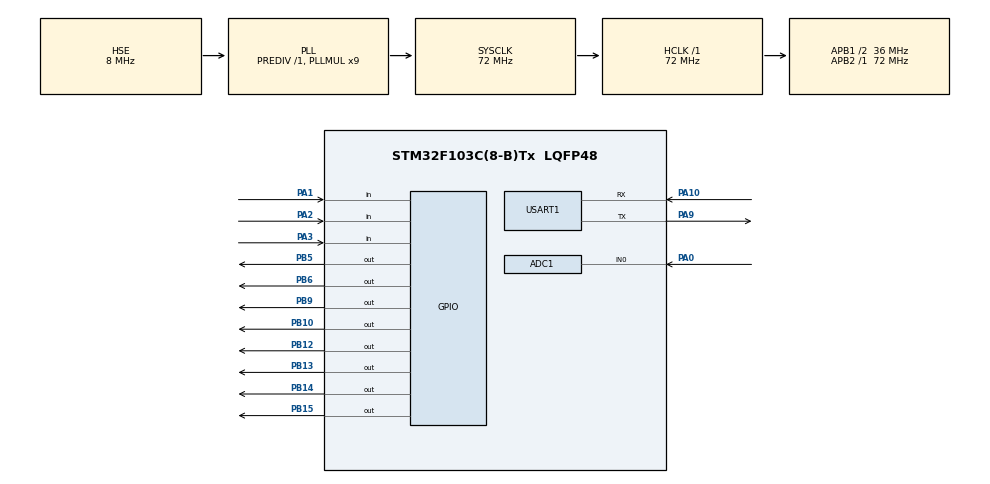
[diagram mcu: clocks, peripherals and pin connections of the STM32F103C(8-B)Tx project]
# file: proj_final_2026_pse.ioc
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ADC1.Channel-0\#ChannelRegularConversion=ADC_CHANNEL_0
ADC1.NbrOfConversionFlag=1
ADC1.Rank-0\#ChannelRegularConversion=1
ADC1.SamplingTime-0\#ChannelRegularConversion=ADC_SAMPLETIME_1CYCLE_5
ADC1.master=1
Dma.Request0=USART1_RX
Dma.Request1=USART1_TX
Dma.USART1_RX.0.Direction=DMA_PERIPH_TO_MEMORY
Dma.USART1_RX.0.Instance=DMA1_Channel5
Dma.USART1_RX.0.MemDataAlignment=DMA_MDATAALIGN_BYTE
Dma.USART1_RX.0.MemInc=DMA_MINC_ENABLE
Dma.USART1_RX.0.Mode=DMA_NORMAL
Dma.USART1_RX.0.PeriphDataAlignment=DMA_PDATAALIGN_BYTE
Dma.USART1_RX.0.PeriphInc=DMA_PINC_DISABLE
Dma.USART1_RX.0.Priority=DMA_PRIORITY_LOW
Dma.USART1_TX.1.Direction=DMA_MEMORY_TO_PERIPH
Dma.USART1_TX.1.Instance=DMA1_Channel4
Dma.USART1_TX.1.MemDataAlignment=DMA_MDATAALIGN_BYTE
Dma.USART1_TX.1.MemInc=DMA_MINC_ENABLE
Dma.USART1_TX.1.Mode=DMA_NORMAL
Dma.USART1_TX.1.PeriphDataAlignment=DMA_PDATAALIGN_BYTE
Dma.USART1_TX.1.PeriphInc=DMA_PINC_DISABLE
Dma.USART1_TX.1.Priority=DMA_PRIORITY_LOW
FREERTOS.Queues01=DMA,16,CommEvent,0,Dynamic,NULL,NULL;RxEvent,16,AppEvent,0,Dynamic,NULL,NULL;displayCommands,6,DisplayCommand,0,Dynamic,NULL,NULL
FREERTOS.Tasks01=defaultTask,24,192,StartDefaultTask,Default,NULL,Dynamic,NULL,NULL;display,32,128,fn_display,Default,NULL,Dynamic,NULL,NULL;uartTx,32,160,fn_uart_tx,Default,NULL,Dynamic,NULL,NULL;keyboard,24,96,fn_keyboard,Default,NULL,Dynamic,NULL,NULL
FREERTOS.configMINIMAL_STACK_SIZE=64
FREERTOS.configTOTAL_HEAP_SIZE=8192
FREERTOS.configUSE_NEWLIB_REENTRANT=1
FREERTOS.configUSE_TICK_HOOK=1
Mcu.Family=STM32F1
Mcu.Name=STM32F103C(8-B)Tx
Mcu.Package=LQFP48
NVIC.ADC1_2_IRQn=true\:5\:0\:false\:true\:true\:4\:true\:true\:true\:true
NVIC.DMA1_Channel4_IRQn=true\:5\:0\:false\:false\:true\:true\:false\:true\:true
NVIC.DMA1_Channel5_IRQn=true\:5\:0\:false\:false\:true\:true\:false\:true\:true
NVIC.PriorityGroup=NVIC_PRIORITYGROUP_4
NVIC.TIM4_IRQn=true\:15\:0\:false\:false\:true\:false\:false\:true\:true
NVIC.TimeBase=TIM4_IRQn
NVIC.TimeBaseIP=TIM4
NVIC.USART1_IRQn=true\:5\:0\:false\:true\:true\:5\:true\:true\:true\:true
PA0-WKUP.Signal=ADCx_IN0
PA1.GPIO_PuPd=GPIO_PULLUP
PA1.Signal=GPIO_Input
PA10.Mode=Asynchronous
PA10.Signal=USART1_RX
PA13.Mode=Serial_Wire
PA13.Signal=SYS_JTMS-SWDIO
PA14.Mode=Serial_Wire
PA14.Signal=SYS_JTCK-SWCLK
PA2.GPIO_PuPd=GPIO_PULLUP
PA2.Signal=GPIO_Input
PA3.GPIO_PuPd=GPIO_PULLUP
PA3.Signal=GPIO_Input
PA9.Mode=Asynchronous
PA9.Signal=USART1_TX
PB10.Signal=GPIO_Output
PB12.PinState=GPIO_PIN_SET
PB12.Signal=GPIO_Output
PB13.PinState=GPIO_PIN_SET
PB13.Signal=GPIO_Output
PB14.PinState=GPIO_PIN_SET
PB14.Signal=GPIO_Output
PB15.PinState=GPIO_PIN_SET
PB15.Signal=GPIO_Output
PB5.PinState=GPIO_PIN_SET
PB5.Signal=GPIO_Output
PB6.Signal=GPIO_Output
PB9.Signal=GPIO_Output
PD0-OSC_IN.Mode=HSE-External-Oscillator
PD0-OSC_IN.Signal=RCC_OSC_IN
PD1-OSC_OUT.Mode=HSE-External-Oscillator
PD1-OSC_OUT.Signal=RCC_OSC_OUT
ProjectManager.HeapSize=0x200
ProjectManager.StackSize=0x400
ProjectManager.TargetToolchain=STM32CubeIDE
RCC.ADCPresc=RCC_ADCPCLK2_DIV6
RCC.AHBFreq_Value=72000000
RCC.APB1CLKDivider=RCC_HCLK_DIV2
RCC.APB1Freq_Value=36000000
RCC.APB1TimFreq_Value=72000000
RCC.APB2Freq_Value=72000000
RCC.APB2TimFreq_Value=72000000
RCC.HCLKFreq_Value=72000000
RCC.PLLMUL=RCC_PLL_MUL9
RCC.PLLSourceVirtual=RCC_PLLSOURCE_HSE
RCC.SYSCLKFreq_VALUE=72000000
RCC.SYSCLKSource=RCC_SYSCLKSOURCE_PLLCLK
RCC.USBFreq_Value=72000000
SH.ADCx_IN0.0=ADC1_IN0,IN0
USART1.VirtualMode=VM_ASYNC
VP_FREERTOS_VS_CMSIS_V2.Mode=CMSIS_V2
VP_SYS_VS_tim4.Mode=TIM4
board=custom

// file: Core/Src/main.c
/* USER CODE BEGIN Header */
/**
  ******************************************************************************
  * @file           : main.c
  * @brief          : Main program body
  ******************************************************************************
  * @attention
  *
  * Copyright (c) 2024 STMicroelectronics.
  * All rights reserved.
  *
  * This software is licensed under terms that can be found in the LICENSE file
  * in the root directory of this software component.
  * If no LICENSE file comes with this software, it is provided AS-IS.
  *
  * notas: J Ranhel - rev 2026.07
  * PA5 =1 na entrada do callBack do RxCpltCallback(), =0 na saída
  * PB7 =1 na entrada do PeriodElapsedCallback(), =0 ma saída
  *
  *
  ******************************************************************************
  */
/* USER CODE END Header */
#include "main.h"
#include "cmsis_os.h"

/* USER CODE BEGIN Includes */
#include <stdbool.h>
#include "FreeRTOS.h"
#include "task.h"
/* USER CODE END Includes */

/* USER CODE BEGIN PTD */
#define PROTOCOL_FRAME_SIZE  (sizeof(PNGPRG) - 1U)
#define DISPLAY_DIGIT_COUNT  NDIGSDISP

typedef enum {
  APP_PHASE_BOOT_TEST = 0,
  APP_PHASE_WAIT_LINK,
  APP_PHASE_RUNNING,
  APP_PHASE_CONNECTION_ERROR
} AppPhase;

typedef enum {
  BUTTON_A1 = 0,
  BUTTON_A2,
  BUTTON_A3,
  BUTTON_COUNT
} ButtonId;

typedef enum {
  PROTOCOL_INVALID = 0,
  PROTOCOL_PING,
  PROTOCOL_PONG,
  PROTOCOL_REQUEST_SERVICE,
  PROTOCOL_STOP_REQUEST,
  PROTOCOL_NO_SERVICE,
  PROTOCOL_REQUEST_CHRONO,
  PROTOCOL_REQUEST_ADC,
  PROTOCOL_CHRONO_VALUE,
  PROTOCOL_ADC_VALUE
} ProtocolType;

typedef struct {
  ProtocolType type;
  uint16_t value;
} ProtocolMessage;

typedef enum {
  APP_EVENT_CHRONO_TICK = 0,
  APP_EVENT_ADC_READY,
  APP_EVENT_BUTTON_EDGE,
  APP_EVENT_PROTOCOL
} AppEventType;

typedef struct {
  AppEventType type;
  union {
    uint16_t value;
    ButtonId button;
    ProtocolMessage protocol;
  } data;
} AppEvent;

typedef enum {
  COMM_EVENT_SEND = 0,
  COMM_EVENT_RX_FRAME,
  COMM_EVENT_TX_COMPLETE,
  COMM_EVENT_UART_ERROR
} CommEventType;

typedef struct {
  CommEventType type;
  union {
    ProtocolMessage message;
    uint8_t frame[PROTOCOL_FRAME_SIZE];
  } data;
} CommEvent;

typedef enum {
  DISPLAY_LED_NONE = 0,
  DISPLAY_LED_D1,
  DISPLAY_LED_D2,
  DISPLAY_LED_D3,
  DISPLAY_LED_D4
} DisplayLed;

typedef enum {
  STARTUP_ANIMATION_ROUTE = 0,
  STARTUP_ANIMATION_DRAW_EIGHTS,
  STARTUP_ANIMATION_HOLD_EIGHTS
} StartupAnimationPhase;

typedef struct {
  uint8_t digit;
  uint8_t segment_mask;
} StartupPathFrame;

typedef struct {
  int8_t digits[DISPLAY_DIGIT_COUNT];
  uint8_t decimal_mask;
  DisplayLed blinking_led;
  bool animate_all_eights;
  bool pulse_buzzer;
  uint32_t buzzer_duration_ms;
} DisplayCommand;

typedef struct {
  DisplayCommand command;
  StartupAnimationPhase animation_phase;
  uint8_t animation_frame;
  bool led_on;
  bool buzzer_active;
  bool buzzer_on;
  bool buzzer_latched;
  uint32_t next_led_toggle;
  uint32_t next_animation_frame;
  uint32_t next_animation_phase;
  uint32_t next_buzzer_toggle;
  uint32_t buzzer_deadline;
} DisplayRuntime;

typedef struct {
  AppPhase phase;
  bool ready_beep_pending;
  bool local_display_enabled;
  bool requesting_peer_service;
  bool serving_peer;
  bool no_service_alert;
  bool remote_chrono_valid;
  bool remote_adc_valid;
  bool ping_awaiting_response;
  bool request_adc_next;
  uint8_t missed_pongs;
  uint8_t display_page;
  uint16_t chrono_deciseconds;
  uint16_t adc_millivolts;
  uint16_t remote_chrono_deciseconds;
  uint16_t remote_adc_millivolts;
  uint32_t ping_deadline;
  uint32_t display_deadline;
  uint32_t remote_request_deadline;
  uint32_t alert_deadline;
} AppState;

typedef struct {
  ButtonId id;
  uint16_t pin;
  GPIO_PinState stable_state;
  GPIO_PinState candidate_state;
  uint32_t candidate_since_ms;
} ButtonInput;
/* USER CODE END PTD */

/* USER CODE BEGIN PD */
#define ADC_REFERENCE_MV              VDD_VALUE
#define ADC_FULL_SCALE                4095U
#define CHRONO_WRAP_DECISECONDS       6000U

#define BOOT_TEST_MS                  3000U
#define PING_PERIOD_MS                 250U
#define PING_MISSED_LIMIT                3U
#define CHRONO_PERIOD_MS        (DT_CRONO + 1U)
#define ADC_PERIOD_MS              (DT_ADC + 1U)
#define REMOTE_REQUEST_PERIOD_MS (DT_NEWREQ + 1U)
#define LOCAL_PAGE_PERIOD_MS (DT_DISPLAY_MD1 + 1U)
#define SERVICE_PAGE_PERIOD_MS (DT_DISPLAY_MD2 + 1U)
#define DISPLAY_SCAN_PERIOD_MS        DT_MUX_DISP
#define OUTPUT_BLINK_PERIOD_MS      (DT_LEDS + 1U)
#define STARTUP_CHASE_PERIOD_MS (DT_EFEITO_INI + 1U)
#define STARTUP_CHASE_TAIL_LENGTH         3U
#define STARTUP_ALL_SEGMENTS_MS          600U
#define READY_BEEP_MS                    200U
#define NO_SERVICE_ALERT_MS            5000U
#define BUTTON_DEBOUNCE_MS               50U
#define CONTROLLER_POLL_MS    (DT_CKECKEYS + 1U)
#define IO_POLL_MS            (DT_CKECKEYS + 1U)

#define APP_EVENT_QUEUE_LENGTH           16U
#define COMM_EVENT_QUEUE_LENGTH          16U
#define DISPLAY_QUEUE_LENGTH              6U
#define COMM_PENDING_FRAME_COUNT           8U

#define BUTTON_A1_PIN              GPIO_PIN_1
#define BUTTON_A2_PIN              GPIO_PIN_2
#define BUTTON_A3_PIN              GPIO_PIN_3

#define LED_D1_PIN                GPIO_PIN_15
#define LED_D2_PIN                GPIO_PIN_14
#define LED_D3_PIN                GPIO_PIN_13
#define LED_D4_PIN                GPIO_PIN_12
#define LED_ALL_PINS   (LED_D1_PIN | LED_D2_PIN | LED_D3_PIN | LED_D4_PIN)
#define BUZZER_PIN                GPIO_PIN_5
#define BUZZER_ACTIVE_LEVEL        GPIO_PIN_RESET
#define BUZZER_INACTIVE_LEVEL      GPIO_PIN_SET

#define GLYPH_BLANK                  ((int8_t)DIG_APAGADO)
#define GLYPH_LOWER_N                ((int8_t)0x11)
#define GLYPH_LOWER_O                ((int8_t)0x12)
#define GLYPH_LOWER_R                ((int8_t)0x13)
/* USER CODE END PD */

ADC_HandleTypeDef hadc1;

UART_HandleTypeDef huart1;
DMA_HandleTypeDef hdma_usart1_rx;
DMA_HandleTypeDef hdma_usart1_tx;

/* Definitions for defaultTask */
osThreadId_t defaultTaskHandle;
const osThreadAttr_t defaultTask_attributes = {
  .name = "defaultTask",
  .stack_size = 192 * 4,
  .priority = (osPriority_t) osPriorityNormal
};
/* Definitions for display */
osThreadId_t displayHandle;
const osThreadAttr_t display_attributes = {
  .name = "display",
  .stack_size = 128 * 4,
  .priority = (osPriority_t) osPriorityAboveNormal
};
/* Definitions for uartTx */
osThreadId_t uartTxHandle;
const osThreadAttr_t uartTx_attributes = {
  .name = "uartTx",
  .stack_size = 160 * 4,
  .priority = (osPriority_t) osPriorityAboveNormal
};
/* Definitions for keyboard */
osThreadId_t keyboardHandle;
const osThreadAttr_t keyboard_attributes = {
  .name = "keyboard",
  .stack_size = 96 * 4,
  .priority = (osPriority_t) osPriorityNormal
};
/* Definitions for DMA */
osMessageQueueId_t DMAHandle;
const osMessageQueueAttr_t DMA_attributes = {
  .name = "DMA"
};
/* Definitions for RxEvent */
osMessageQueueId_t RxEventHandle;
const osMessageQueueAttr_t RxEvent_attributes = {
  .name = "RxEvent"
};
/* Definitions for displayCommands */
osMessageQueueId_t displayCommandsHandle;
const osMessageQueueAttr_t displayCommands_attributes = {
  .name = "displayCommands"
};
/* USER CODE BEGIN PV */
uint8_t BufOUT[PROTOCOL_FRAME_SIZE] = {'0','0','0','0','0'};
uint8_t BufIN[PROTOCOL_FRAME_SIZE]  = {'0','0','0','0','0'};
/* USER CODE END PV */

void SystemClock_Config(void);
static void MX_GPIO_Init(void);
static void MX_DMA_Init(void);
static void MX_ADC1_Init(void);
static void MX_USART1_UART_Init(void);
void StartDefaultTask(void *argument);
void fn_display(void *argument);
void fn_uart_tx(void *argument);
void fn_keyboard(void *argument);

static void MX_NVIC_Init(void);

/* USER CODE BEGIN 0 */
static uint32_t ms_to_ticks(uint32_t milliseconds) {
  const uint32_t frequency = osKernelGetTickFreq();
  return (uint32_t)(((uint64_t)milliseconds * frequency + 999U) / 1000U);
}

static bool time_reached(uint32_t now, uint32_t deadline) {
  return (int32_t)(now - deadline) >= 0;
}

enum {
  SEGMENT_A = (1U << 0),
  SEGMENT_B = (1U << 1),
  SEGMENT_C = (1U << 2),
  SEGMENT_D = (1U << 3),
  SEGMENT_E = (1U << 4),
  SEGMENT_F = (1U << 5),
  SEGMENT_G = (1U << 6)
};

/* The first digit grows from top to bottom. The next one uses this array in
   reverse, so it starts exactly where the preceding digit ended. */
static const uint8_t startup_eight_segment_order[] = {
  SEGMENT_A,
  SEGMENT_F,
  SEGMENT_B,
  SEGMENT_G,
  SEGMENT_E,
  SEGMENT_C,
  SEGMENT_D
};

/* Serpentine route from the upper-left corner to the lower-right corner.
   Only the moving head and its short tail are rendered. */
static const StartupPathFrame startup_route_path[] = {
  {.digit = 3U, .segment_mask = SEGMENT_A},
  {.digit = 2U, .segment_mask = SEGMENT_A},
  {.digit = 1U, .segment_mask = SEGMENT_A},
  {.digit = 0U, .segment_mask = SEGMENT_A},
  {.digit = 0U, .segment_mask = SEGMENT_B},
  {.digit = 0U, .segment_mask = SEGMENT_G},
  {.digit = 1U, .segment_mask = SEGMENT_G},
  {.digit = 2U, .segment_mask = SEGMENT_G},
  {.digit = 3U, .segment_mask = SEGMENT_G},
  {.digit = 3U, .segment_mask = SEGMENT_E},
  {.digit = 3U, .segment_mask = SEGMENT_D},
  {.digit = 2U, .segment_mask = SEGMENT_D},
  {.digit = 1U, .segment_mask = SEGMENT_D},
  {.digit = 0U, .segment_mask = SEGMENT_D}
};

typedef struct {
  ProtocolType type;
  const char *token;
} ProtocolToken;

static const ProtocolToken protocol_tokens[] = {
  {PROTOCOL_PING, PNGPRG},
  {PROTOCOL_PONG, PNGRSP},
  {PROTOCOL_REQUEST_SERVICE, REQSRV},
  {PROTOCOL_STOP_REQUEST, REQOFF},
  {PROTOCOL_NO_SERVICE, MSGNSV},
  {PROTOCOL_REQUEST_CHRONO, REQCRN},
  {PROTOCOL_REQUEST_ADC, REQADC}
};

static void set_buzzer(bool on) {
  HAL_GPIO_WritePin(GPIOB, BUZZER_PIN,
                    on ? BUZZER_ACTIVE_LEVEL : BUZZER_INACTIVE_LEVEL);
}

static bool post_app_event(const AppEvent *event) {
  return (RxEventHandle != NULL)
      && (osMessageQueuePut(RxEventHandle, event, 0U, 0U) == osOK);
}

static bool post_comm_event(const CommEvent *event) {
  return (DMAHandle != NULL)
      && (osMessageQueuePut(DMAHandle, event, 0U, 0U) == osOK);
}

static bool request_transmission(ProtocolType type, uint16_t value) {
  const CommEvent event = {
    .type = COMM_EVENT_SEND,
    .data.message = {.type = type, .value = value}
  };
  return post_comm_event(&event);
}

static bool frame_has_four_digits(const uint8_t frame[PROTOCOL_FRAME_SIZE]) {
  for (uint32_t index = 1U; index < PROTOCOL_FRAME_SIZE; ++index) {
    if (conv_ASC_num(frame[index]) == 0x45) {
      return false;
    }
  }
  return true;
}

static uint16_t decode_four_digits(const uint8_t frame[PROTOCOL_FRAME_SIZE]) {
  uint16_t value = 0U;
  for (uint32_t index = 1U; index < PROTOCOL_FRAME_SIZE; ++index) {
    value = (uint16_t)(value * 10U + (uint16_t)conv_ASC_num(frame[index]));
  }
  return value;
}

static void encode_four_digits(uint16_t value, uint8_t frame[PROTOCOL_FRAME_SIZE]) {
  for (int32_t index = (int32_t)PROTOCOL_FRAME_SIZE - 1; index >= 1; --index) {
    frame[index] = conv_num_ASC((int8_t)(value % 10U));
    value /= 10U;
  }
}

static bool protocol_encode(const ProtocolMessage *message,
                            uint8_t frame[PROTOCOL_FRAME_SIZE]) {
  if ((message == NULL) || (frame == NULL)) {
    return false;
  }

  for (uint32_t index = 0U;
       index < sizeof(protocol_tokens) / sizeof(protocol_tokens[0]); ++index) {
    if (message->type == protocol_tokens[index].type) {
      memcpy(frame, protocol_tokens[index].token, PROTOCOL_FRAME_SIZE);
      return true;
    }
  }

  if (message->type == PROTOCOL_CHRONO_VALUE) {
    const uint16_t value = (uint16_t)(message->value % CHRONO_WRAP_DECISECONDS);
    const uint16_t seconds = (value / 10U) % 60U;
    frame[0] = (uint8_t)'c';
    frame[1] = conv_num_ASC((int8_t)(value / 600U));
    frame[2] = conv_num_ASC((int8_t)(seconds / 10U));
    frame[3] = conv_num_ASC((int8_t)(seconds % 10U));
    frame[4] = conv_num_ASC((int8_t)(value % 10U));
    return true;
  }
  if (message->type == PROTOCOL_ADC_VALUE) {
    frame[0] = (uint8_t)'a';
    encode_four_digits((message->value > ADC_REFERENCE_MV)
                       ? ADC_REFERENCE_MV : message->value, frame);
    return true;
  }
  return false;
}

static bool protocol_decode(const uint8_t frame[PROTOCOL_FRAME_SIZE],
                            ProtocolMessage *message) {
  if ((frame == NULL) || (message == NULL)) {
    return false;
  }

  message->type = PROTOCOL_INVALID;
  message->value = 0U;

  for (uint32_t index = 0U;
       index < sizeof(protocol_tokens) / sizeof(protocol_tokens[0]); ++index) {
    if (memcmp(frame, protocol_tokens[index].token, PROTOCOL_FRAME_SIZE) == 0) {
      message->type = protocol_tokens[index].type;
      return true;
    }
  }

  if ((frame[0] == (uint8_t)'a') && frame_has_four_digits(frame)) {
    const uint16_t millivolts = decode_four_digits(frame);
    if (millivolts <= ADC_REFERENCE_MV) {
      message->type = PROTOCOL_ADC_VALUE;
      message->value = millivolts;
    }
  }
  else if ((frame[0] == (uint8_t)'c') && frame_has_four_digits(frame)
           && (frame[2] <= (uint8_t)'5')) {
    const uint16_t minutes = (uint16_t)conv_ASC_num(frame[1]);
    const uint16_t second_tens = (uint16_t)conv_ASC_num(frame[2]);
    const uint16_t second_units = (uint16_t)conv_ASC_num(frame[3]);
    const uint16_t tenths = (uint16_t)conv_ASC_num(frame[4]);
    message->type = PROTOCOL_CHRONO_VALUE;
    message->value = (uint16_t)(minutes * 600U + second_tens * 100U
                                + second_units * 10U + tenths);
  }

  return message->type != PROTOCOL_INVALID;
}

static uint16_t adc_raw_to_millivolts(uint16_t raw) {
  return (uint16_t)(((uint32_t)raw * ADC_REFERENCE_MV
                     + ADC_FULL_SCALE / 2U) / ADC_FULL_SCALE);
}

static void format_chrono(uint16_t deciseconds,
                          int8_t digits[DISPLAY_DIGIT_COUNT]) {
  const uint16_t value = (uint16_t)(deciseconds % CHRONO_WRAP_DECISECONDS);
  const uint16_t seconds = (value / 10U) % 60U;
  digits[3] = (int8_t)(value / 600U);
  digits[2] = (int8_t)(seconds / 10U);
  digits[1] = (int8_t)(seconds % 10U);
  digits[0] = (int8_t)(value % 10U);
}

static void format_adc(uint16_t millivolts,
                       int8_t digits[DISPLAY_DIGIT_COUNT]) {
  const uint16_t value = (millivolts > ADC_REFERENCE_MV)
      ? ADC_REFERENCE_MV : millivolts;
  digits[3] = (int8_t)(value / 1000U);
  digits[2] = (int8_t)((value / 100U) % 10U);
  digits[1] = (int8_t)((value / 10U) % 10U);
  digits[0] = (int8_t)(value % 10U);
}

static void fill_all_segments(int8_t digits[DISPLAY_DIGIT_COUNT]) {
  memset(digits, 8, DISPLAY_DIGIT_COUNT);
}

static bool display_command_shows_all_eights(const DisplayCommand *command) {
  return command->digits[0] == 8 && command->digits[1] == 8
      && command->digits[2] == 8 && command->digits[3] == 8;
}

static void display_all_eights(DisplayCommand *command) {
  fill_all_segments(command->digits);
  command->decimal_mask = 0x0FU;
}

static void display_measurement(DisplayCommand *command, bool valid,
                                bool is_adc, uint16_t value) {
  if (!valid) {
    display_all_eights(command);
    return;
  }
  if (is_adc) {
    format_adc(value, command->digits);
    command->decimal_mask = 0x08U;
  }
  else {
    format_chrono(value, command->digits);
    command->decimal_mask = 0x0AU;
  }
}

static void publish_display_command(const DisplayCommand *command) {
  if (osMessageQueuePut(displayCommandsHandle, command, 0U, 0U) != osOK) {
    DisplayCommand discarded;
    (void)osMessageQueueGet(displayCommandsHandle, &discarded, NULL, 0U);
    (void)osMessageQueuePut(displayCommandsHandle, command, 0U, 0U);
  }
}

static void display_service_page(DisplayCommand *command,
                                 const AppState *state) {
  const bool remote = state->display_page >= 2U;
  const bool is_adc = (state->display_page & 1U) != 0U;
  const bool valid = remote
      ? (is_adc ? state->remote_adc_valid : state->remote_chrono_valid)
      : state->local_display_enabled;
  const uint16_t value = remote
      ? (is_adc ? state->remote_adc_millivolts
                : state->remote_chrono_deciseconds)
      : (is_adc ? state->adc_millivolts : state->chrono_deciseconds);
  command->blinking_led = (DisplayLed)(DISPLAY_LED_D1 + state->display_page);
  display_measurement(command, valid, is_adc, value);
}

static void app_publish_display(const AppState *state) {
  DisplayCommand command = {
    .digits = {GLYPH_BLANK, GLYPH_BLANK, GLYPH_BLANK, GLYPH_BLANK}
  };

  if ((state->phase == APP_PHASE_BOOT_TEST)
      || (state->phase == APP_PHASE_WAIT_LINK)) {
    display_all_eights(&command);
  }
  else if (state->phase == APP_PHASE_CONNECTION_ERROR) {
    const int8_t text[] = {GLYPH_LOWER_N, GLYPH_LOWER_O, 0x0C,
                           GLYPH_LOWER_N};
    memcpy(command.digits, text, sizeof(text));
  }
  else if (state->no_service_alert) {
    const int8_t text[] = {GLYPH_LOWER_R, 0x0E, 5, GLYPH_LOWER_N};
    memcpy(command.digits, text, sizeof(text));
    command.pulse_buzzer = true;
    command.buzzer_duration_ms = NO_SERVICE_ALERT_MS;
  }
  else if (state->serving_peer) {
    display_service_page(&command, state);
  }
  else if (state->local_display_enabled) {
    const bool is_adc = state->display_page != 0U;
    display_measurement(&command, true, is_adc,
                        is_adc ? state->adc_millivolts
                               : state->chrono_deciseconds);
    command.blinking_led = is_adc ? DISPLAY_LED_D2 : DISPLAY_LED_D1;
  }
  else {
    display_all_eights(&command);
  }

  /* Requirement a.3/a.4: immediately after reset, keep every segment and
     decimal point continuously on for the complete 3 s boot-test interval.
     In later states, the same 8.8.8.8 placeholder uses the snake animation. */
  command.animate_all_eights =
      (state->phase != APP_PHASE_BOOT_TEST)
      && display_command_shows_all_eights(&command);
  if (state->ready_beep_pending) {
    command.pulse_buzzer = true;
    command.buzzer_duration_ms = READY_BEEP_MS;
  }
  publish_display_command(&command);
}

static void app_reset_display_cycle(AppState *state, uint32_t now) {
  state->display_page = 0U;
  if (state->serving_peer) {
    state->display_deadline = now + ms_to_ticks(SERVICE_PAGE_PERIOD_MS);
  }
  else if (state->local_display_enabled) {
    state->display_deadline = now + ms_to_ticks(LOCAL_PAGE_PERIOD_MS);
  }
  else {
    state->display_deadline = 0U;
  }
}

static void app_initialize(AppState *state) {
  memset(state, 0, sizeof(*state));
  state->phase = APP_PHASE_BOOT_TEST;
  state->ping_deadline = osKernelGetTickCount() + ms_to_ticks(BOOT_TEST_MS);
  app_publish_display(state);
}

static void app_handle_button(AppState *state, ButtonId button) {
  if ((button >= BUTTON_COUNT) || (state->phase != APP_PHASE_RUNNING)) {
    return;
  }

  switch (button) {
    case BUTTON_A1:
      state->local_display_enabled = true;
      if (state->serving_peer) {
        state->serving_peer = false;
        (void)request_transmission(PROTOCOL_NO_SERVICE, 0U);
      }
      app_reset_display_cycle(state, osKernelGetTickCount());
      break;
    case BUTTON_A2:
      state->requesting_peer_service = true;
      state->no_service_alert = false;
      (void)request_transmission(PROTOCOL_REQUEST_SERVICE, 0U);
      break;
    case BUTTON_A3:
      state->requesting_peer_service = false;
      (void)request_transmission(PROTOCOL_STOP_REQUEST, 0U);
      break;
    default:
      break;
  }

  app_publish_display(state);
}

static void app_handle_protocol(AppState *state, const ProtocolMessage *message) {
  const uint32_t now = osKernelGetTickCount();

  if (state->phase == APP_PHASE_CONNECTION_ERROR) {
    return;
  }

  if (message->type == PROTOCOL_PING) {
    (void)request_transmission(PROTOCOL_PONG, 0U);
    return;
  }

  if (message->type == PROTOCOL_PONG) {
    if ((state->phase == APP_PHASE_WAIT_LINK)
        || (state->phase == APP_PHASE_RUNNING)) {
      state->ping_awaiting_response = false;
      state->missed_pongs = 0U;
      if (state->phase == APP_PHASE_WAIT_LINK) {
        state->phase = APP_PHASE_RUNNING;
        app_reset_display_cycle(state, now);
        state->ready_beep_pending = true;
        app_publish_display(state);
        state->ready_beep_pending = false;
      }
    }
    return;
  }

  if (state->phase != APP_PHASE_RUNNING) {
    return;
  }

  switch (message->type) {
    case PROTOCOL_REQUEST_SERVICE:
      state->serving_peer = true;
      state->remote_chrono_valid = false;
      state->remote_adc_valid = false;
      state->request_adc_next = false;
      state->remote_request_deadline = now;
      app_reset_display_cycle(state, now);
      break;
    case PROTOCOL_STOP_REQUEST:
      state->serving_peer = false;
      app_reset_display_cycle(state, now);
      break;
    case PROTOCOL_NO_SERVICE:
      if (state->requesting_peer_service) {
        state->requesting_peer_service = false;
        state->no_service_alert = true;
        state->alert_deadline = now + ms_to_ticks(NO_SERVICE_ALERT_MS);
      }
      break;
    case PROTOCOL_REQUEST_CHRONO:
      (void)request_transmission(PROTOCOL_CHRONO_VALUE,
                                 state->chrono_deciseconds);
      break;
    case PROTOCOL_REQUEST_ADC:
      (void)request_transmission(PROTOCOL_ADC_VALUE,
                                 state->adc_millivolts);
      break;
    case PROTOCOL_CHRONO_VALUE:
      state->remote_chrono_deciseconds = message->value;
      state->remote_chrono_valid = true;
      break;
    case PROTOCOL_ADC_VALUE:
      state->remote_adc_millivolts = message->value;
      state->remote_adc_valid = true;
      break;
    default:
      break;
  }

  app_publish_display(state);
}

static void app_handle_event(AppState *state, const AppEvent *event) {
  switch (event->type) {
    case APP_EVENT_CHRONO_TICK:
      state->chrono_deciseconds = (uint16_t)(
          (state->chrono_deciseconds + 1U) % CHRONO_WRAP_DECISECONDS);
      app_publish_display(state);
      break;
    case APP_EVENT_ADC_READY:
      state->adc_millivolts = adc_raw_to_millivolts(event->data.value);
      app_publish_display(state);
      break;
    case APP_EVENT_BUTTON_EDGE:
      app_handle_button(state, event->data.button);
      break;
    case APP_EVENT_PROTOCOL:
      app_handle_protocol(state, &event->data.protocol);
      break;
    default:
      break;
  }
}

static bool app_process_ping(AppState *state, uint32_t now) {
  if (((state->phase != APP_PHASE_WAIT_LINK)
       && (state->phase != APP_PHASE_RUNNING))
      || !time_reached(now, state->ping_deadline)) {
    return true;
  }
  if (state->ping_awaiting_response
      && (++state->missed_pongs >= PING_MISSED_LIMIT)) {
    state->phase = APP_PHASE_CONNECTION_ERROR;
    state->serving_peer = false;
    state->requesting_peer_service = false;
    state->no_service_alert = false;
    app_publish_display(state);
    return false;
  }
  (void)request_transmission(PROTOCOL_PING, 0U);
  state->ping_awaiting_response = true;
  state->ping_deadline = now + ms_to_ticks(PING_PERIOD_MS);
  return true;
}

static void app_process_deadlines(AppState *state) {
  const uint32_t now = osKernelGetTickCount();

  if (state->phase == APP_PHASE_BOOT_TEST) {
    if (time_reached(now, state->ping_deadline)) {
      state->phase = APP_PHASE_WAIT_LINK;
      state->ping_deadline = now;
      app_publish_display(state);
    }
    return;
  }

  if (!app_process_ping(state, now)) {
    return;
  }

  if ((state->phase != APP_PHASE_RUNNING) || state->no_service_alert) {
    if (state->no_service_alert && time_reached(now, state->alert_deadline)) {
      state->no_service_alert = false;
      app_reset_display_cycle(state, now);
      app_publish_display(state);
    }
    return;
  }

  if (state->serving_peer
      && time_reached(now, state->remote_request_deadline)) {
    (void)request_transmission(state->request_adc_next
                               ? PROTOCOL_REQUEST_ADC
                               : PROTOCOL_REQUEST_CHRONO, 0U);
    state->request_adc_next = !state->request_adc_next;
    state->remote_request_deadline =
        now + ms_to_ticks(REMOTE_REQUEST_PERIOD_MS);
  }

  if ((state->serving_peer || state->local_display_enabled)
      && time_reached(now, state->display_deadline)) {
    const uint8_t page_count = state->serving_peer ? DISPLAY_DIGIT_COUNT : 2U;
    const uint32_t page_ms = state->serving_peer
        ? SERVICE_PAGE_PERIOD_MS : LOCAL_PAGE_PERIOD_MS;
    state->display_page = (uint8_t)((state->display_page + 1U) % page_count);
    state->display_deadline = now + ms_to_ticks(page_ms);
    app_publish_display(state);
  }
}

static uint16_t glyph_to_segments(int8_t glyph) {
  switch (glyph) {
    case GLYPH_LOWER_N:
      return 0xAB00U;  /* c, e, g */
    case GLYPH_LOWER_O:
      return 0xA300U;  /* c, d, e, g */
    case GLYPH_LOWER_R:
      return 0xAF00U;  /* e, g */
    default:
      return conv_7_seg(glyph);
  }
}

static void scan_display(const int8_t digits[DISPLAY_DIGIT_COUNT],
                         uint8_t decimal_mask) {
  static uint8_t digit = 0U;
  static const uint16_t digit_select[DISPLAY_DIGIT_COUNT] = {
    0x0008U, 0x0004U, 0x0002U, 0x0001U
  };
  uint16_t serialized = glyph_to_segments(digits[digit]);

  if ((decimal_mask & (uint8_t)(1U << digit)) != 0U) {
    serialized &= 0x7FFFU;
  }
  serialized |= digit_select[digit];
  serializar(serialized);
  digit = (uint8_t)((digit + 1U) % DISPLAY_DIGIT_COUNT);
}

static void scan_startup_segments(
    const uint8_t segments[DISPLAY_DIGIT_COUNT]) {
  static uint8_t scanned_digit = 0U;
  static const uint16_t digit_select[DISPLAY_DIGIT_COUNT] = {
    0x0008U, 0x0004U, 0x0002U, 0x0001U
  };

  serializar((uint16_t)(0xFF00U
      & (uint16_t)~((uint16_t)segments[scanned_digit] << 8))
      | digit_select[scanned_digit]);
  scanned_digit = (uint8_t)((scanned_digit + 1U) % DISPLAY_DIGIT_COUNT);
}

static void scan_startup_route(uint8_t frame_index) {
  uint8_t segments[DISPLAY_DIGIT_COUNT] = {0U, 0U, 0U, 0U};
  const uint8_t route_frame_count = (uint8_t)(sizeof(startup_route_path)
      / sizeof(startup_route_path[0]));

  for (uint8_t trail = 0U; trail < STARTUP_CHASE_TAIL_LENGTH; ++trail) {
    if (frame_index < trail) {
      break;
    }
    const uint8_t path_index = (uint8_t)(frame_index - trail);
    if (path_index >= route_frame_count) {
      continue;
    }
    const StartupPathFrame *frame = &startup_route_path[path_index];
    segments[frame->digit] |= frame->segment_mask;
  }
  scan_startup_segments(segments);
}

static void scan_startup_eights(uint8_t frame_index) {
  const uint8_t segment_count = (uint8_t)(
      sizeof(startup_eight_segment_order)
      / sizeof(startup_eight_segment_order[0]));
  uint8_t segments[DISPLAY_DIGIT_COUNT] = {0U, 0U, 0U, 0U};

  for (uint8_t path_index = 0U; path_index <= frame_index; ++path_index) {
    const uint8_t digit_order = (uint8_t)(path_index / segment_count);
    const uint8_t digit = digit_order;
    const uint8_t position = (uint8_t)(path_index % segment_count);
    const uint8_t segment_index = ((digit_order & 1U) == 0U)
        ? (uint8_t)(segment_count - 1U - position) : position;
    segments[digit] |= startup_eight_segment_order[segment_index];
  }
  scan_startup_segments(segments);
}

static uint8_t startup_eight_frame_count(void) {
  return (uint8_t)(DISPLAY_DIGIT_COUNT
      * (sizeof(startup_eight_segment_order)
         / sizeof(startup_eight_segment_order[0])));
}

static void set_blinking_led(DisplayLed led, bool on) {
  uint16_t selected_pin = 0U;
  HAL_GPIO_WritePin(GPIOB, LED_ALL_PINS, GPIO_PIN_SET);

  switch (led) {
    case DISPLAY_LED_D1: selected_pin = LED_D1_PIN; break;
    case DISPLAY_LED_D2: selected_pin = LED_D2_PIN; break;
    case DISPLAY_LED_D3: selected_pin = LED_D3_PIN; break;
    case DISPLAY_LED_D4: selected_pin = LED_D4_PIN; break;
    default: break;
  }

  if (on && (selected_pin != 0U)) {
    HAL_GPIO_WritePin(GPIOB, selected_pin, GPIO_PIN_RESET);
  }
}

static uint8_t animation_frame_count(StartupAnimationPhase phase) {
  if (phase == STARTUP_ANIMATION_ROUTE) {
    return (uint8_t)(sizeof(startup_route_path) / sizeof(startup_route_path[0]));
  }
  return phase == STARTUP_ANIMATION_DRAW_EIGHTS
      ? startup_eight_frame_count() : 0U;
}

static void display_animation_reset(DisplayRuntime *runtime, uint32_t now) {
  runtime->animation_phase = STARTUP_ANIMATION_ROUTE;
  runtime->animation_frame = 0U;
  runtime->next_animation_frame = now + ms_to_ticks(STARTUP_CHASE_PERIOD_MS);
  runtime->next_animation_phase = now + ms_to_ticks(
      STARTUP_CHASE_PERIOD_MS * animation_frame_count(runtime->animation_phase));
}

static void display_accept_command(DisplayRuntime *runtime,
                                   const DisplayCommand *incoming, uint32_t now) {
  if (incoming->blinking_led != runtime->command.blinking_led) {
    runtime->led_on = true;
    runtime->next_led_toggle = now + ms_to_ticks(OUTPUT_BLINK_PERIOD_MS);
  }
  if (incoming->animate_all_eights && !runtime->command.animate_all_eights) {
    display_animation_reset(runtime, now);
  }
  if (incoming->pulse_buzzer && !runtime->buzzer_latched) {
    runtime->buzzer_latched = true;
    runtime->buzzer_active = true;
    runtime->buzzer_on = true;
    runtime->next_buzzer_toggle = now + ms_to_ticks(OUTPUT_BLINK_PERIOD_MS);
    runtime->buzzer_deadline = now + ms_to_ticks(incoming->buzzer_duration_ms);
  }
  else if (!incoming->pulse_buzzer) {
    runtime->buzzer_latched = false;
    if (!runtime->buzzer_active
        || runtime->command.buzzer_duration_ms == NO_SERVICE_ALERT_MS) {
      runtime->buzzer_active = false;
      runtime->buzzer_on = false;
    }
  }
  runtime->command = *incoming;
}

static void display_update_runtime(DisplayRuntime *runtime, uint32_t now) {
  if (time_reached(now, runtime->next_led_toggle)) {
    runtime->led_on = !runtime->led_on;
    runtime->next_led_toggle = now + ms_to_ticks(OUTPUT_BLINK_PERIOD_MS);
  }
  if (runtime->command.animate_all_eights
      && time_reached(now, runtime->next_animation_phase)) {
    runtime->animation_phase = (StartupAnimationPhase)(
        (runtime->animation_phase + 1U) % 3U);
    runtime->animation_frame = 0U;
    runtime->next_animation_frame = now + ms_to_ticks(STARTUP_CHASE_PERIOD_MS);
    runtime->next_animation_phase = now + ms_to_ticks(
        runtime->animation_phase == STARTUP_ANIMATION_HOLD_EIGHTS
        ? STARTUP_ALL_SEGMENTS_MS
        : STARTUP_CHASE_PERIOD_MS
          * animation_frame_count(runtime->animation_phase));
  }
  if (runtime->command.animate_all_eights
      && runtime->animation_phase != STARTUP_ANIMATION_HOLD_EIGHTS
      && time_reached(now, runtime->next_animation_frame)) {
    runtime->animation_frame = (uint8_t)((runtime->animation_frame + 1U)
        % animation_frame_count(runtime->animation_phase));
    runtime->next_animation_frame = now + ms_to_ticks(STARTUP_CHASE_PERIOD_MS);
  }
  if (runtime->buzzer_active && time_reached(now, runtime->buzzer_deadline)) {
    runtime->buzzer_active = false;
    runtime->buzzer_on = false;
  }
  else if (runtime->buzzer_active
           && time_reached(now, runtime->next_buzzer_toggle)) {
    runtime->buzzer_on = !runtime->buzzer_on;
    runtime->next_buzzer_toggle = now + ms_to_ticks(OUTPUT_BLINK_PERIOD_MS);
  }
}

static void display_render(const DisplayRuntime *runtime) {
  const DisplayCommand *command = &runtime->command;
  if (command->animate_all_eights
      && command->blinking_led == DISPLAY_LED_NONE) {
    if (runtime->animation_phase == STARTUP_ANIMATION_HOLD_EIGHTS) {
      HAL_GPIO_WritePin(GPIOB, LED_ALL_PINS, GPIO_PIN_RESET);
    }
    else {
      const uint8_t segments_per_digit = (uint8_t)(
          sizeof(startup_eight_segment_order)
          / sizeof(startup_eight_segment_order[0]));
      const uint8_t active_digit =
          runtime->animation_phase == STARTUP_ANIMATION_ROUTE
          ? startup_route_path[runtime->animation_frame].digit
          : (uint8_t)(runtime->animation_frame / segments_per_digit);
      set_blinking_led((DisplayLed)(DISPLAY_LED_D1
          + DISPLAY_DIGIT_COUNT - 1U - active_digit), true);
    }
  }
  else {
    set_blinking_led(command->blinking_led,
                     runtime->led_on
                     && command->blinking_led != DISPLAY_LED_NONE);
  }

  set_buzzer(runtime->buzzer_on);
  if (!command->animate_all_eights
      || runtime->animation_phase == STARTUP_ANIMATION_HOLD_EIGHTS) {
    scan_display(command->digits, command->decimal_mask);
  }
  else if (runtime->animation_phase == STARTUP_ANIMATION_ROUTE) {
    scan_startup_route(runtime->animation_frame);
  }
  else {
    scan_startup_eights(runtime->animation_frame);
  }
}
/* USER CODE END 0 */

int main(void) {

  /* MCU Configuration--------------------------------------------------------*/

  /* Reset of all peripherals, Initializes the Flash interface and the Systick. */
  HAL_Init();

  /* Configure the system clock */
  SystemClock_Config();

  /* Initialize all configured peripherals */
  MX_GPIO_Init();
  MX_DMA_Init();
  MX_ADC1_Init();
  MX_USART1_UART_Init();

  /* Initialize interrupts */
  MX_NVIC_Init();

  /* Init scheduler */
  osKernelInitialize();

  /* creation of DMA */
  DMAHandle = osMessageQueueNew(COMM_EVENT_QUEUE_LENGTH, sizeof(CommEvent),
                                &DMA_attributes);

  /* creation of RxEvent */
  RxEventHandle = osMessageQueueNew(APP_EVENT_QUEUE_LENGTH, sizeof(AppEvent),
                                    &RxEvent_attributes);

  /* creation of displayCommands */
  displayCommandsHandle = osMessageQueueNew(DISPLAY_QUEUE_LENGTH,
                                             sizeof(DisplayCommand),
                                             &displayCommands_attributes);

  if ((DMAHandle == NULL) || (RxEventHandle == NULL)
      || (displayCommandsHandle == NULL)) {
    Error_Handler();
  }

  /* Create the thread(s) */
  /* creation of defaultTask */
  defaultTaskHandle = osThreadNew(StartDefaultTask, NULL, &defaultTask_attributes);

  /* creation of display */
  displayHandle = osThreadNew(fn_display, NULL, &display_attributes);

  /* creation of uartTx */
  uartTxHandle = osThreadNew(fn_uart_tx, NULL, &uartTx_attributes);

  /* creation of keyboard */
  keyboardHandle = osThreadNew(fn_keyboard, NULL, &keyboard_attributes);

  /* USER CODE BEGIN RTOS_THREADS */
  if ((defaultTaskHandle == NULL) || (displayHandle == NULL)
      || (uartTxHandle == NULL)
      || (keyboardHandle == NULL)) {
    Error_Handler();
  }
  /* USER CODE END RTOS_THREADS */

  /* Start scheduler */
  osKernelStart();

  /* We should never get here as control is now taken by the scheduler */

  /* Infinite loop */
  while (1) {

  }
}

void SystemClock_Config(void) {
  RCC_OscInitTypeDef RCC_OscInitStruct = {0};
  RCC_ClkInitTypeDef RCC_ClkInitStruct = {0};
  RCC_PeriphCLKInitTypeDef PeriphClkInit = {0};

  /** Initializes the RCC Oscillators according to the specified parameters
  * in the RCC_OscInitTypeDef structure.
  */
  RCC_OscInitStruct.OscillatorType = RCC_OSCILLATORTYPE_HSE;
  RCC_OscInitStruct.HSEState = RCC_HSE_ON;
  RCC_OscInitStruct.HSEPredivValue = RCC_HSE_PREDIV_DIV1;
  RCC_OscInitStruct.HSIState = RCC_HSI_ON;
  RCC_OscInitStruct.PLL.PLLState = RCC_PLL_ON;
  RCC_OscInitStruct.PLL.PLLSource = RCC_PLLSOURCE_HSE;
  RCC_OscInitStruct.PLL.PLLMUL = RCC_PLL_MUL9;
  if (HAL_RCC_OscConfig(&RCC_OscInitStruct) != HAL_OK) {
    Error_Handler();
  }

  /** Initializes the CPU, AHB and APB buses clocks
  */
  RCC_ClkInitStruct.ClockType = RCC_CLOCKTYPE_HCLK|RCC_CLOCKTYPE_SYSCLK
                              |RCC_CLOCKTYPE_PCLK1|RCC_CLOCKTYPE_PCLK2;
  RCC_ClkInitStruct.SYSCLKSource = RCC_SYSCLKSOURCE_PLLCLK;
  RCC_ClkInitStruct.AHBCLKDivider = RCC_SYSCLK_DIV1;
  RCC_ClkInitStruct.APB1CLKDivider = RCC_HCLK_DIV2;
  RCC_ClkInitStruct.APB2CLKDivider = RCC_HCLK_DIV1;

  if (HAL_RCC_ClockConfig(&RCC_ClkInitStruct, FLASH_LATENCY_2) != HAL_OK) {
    Error_Handler();
  }
  PeriphClkInit.PeriphClockSelection = RCC_PERIPHCLK_ADC;
  PeriphClkInit.AdcClockSelection = RCC_ADCPCLK2_DIV6;
  if (HAL_RCCEx_PeriphCLKConfig(&PeriphClkInit) != HAL_OK) {
    Error_Handler();
  }
}

static void MX_NVIC_Init(void) {
  /* ADC1_2_IRQn interrupt configuration */
  HAL_NVIC_SetPriority(ADC1_2_IRQn, 5, 0);
  HAL_NVIC_EnableIRQ(ADC1_2_IRQn);
  /* USART1_IRQn interrupt configuration */
  HAL_NVIC_SetPriority(USART1_IRQn, 5, 0);
  HAL_NVIC_EnableIRQ(USART1_IRQn);
}

static void MX_ADC1_Init(void) {

  ADC_ChannelConfTypeDef sConfig = {0};

  /** Common config
  */
  hadc1.Instance = ADC1;
  hadc1.Init.ScanConvMode = ADC_SCAN_DISABLE;
  hadc1.Init.ContinuousConvMode = DISABLE;
  hadc1.Init.DiscontinuousConvMode = DISABLE;
  hadc1.Init.ExternalTrigConv = ADC_SOFTWARE_START;
  hadc1.Init.DataAlign = ADC_DATAALIGN_RIGHT;
  hadc1.Init.NbrOfConversion = 1;
  if (HAL_ADC_Init(&hadc1) != HAL_OK) {
    Error_Handler();
  }

  /** Configure Regular Channel
  */
  sConfig.Channel = ADC_CHANNEL_0;
  sConfig.Rank = ADC_REGULAR_RANK_1;
  sConfig.SamplingTime = ADC_SAMPLETIME_1CYCLE_5;
  if (HAL_ADC_ConfigChannel(&hadc1, &sConfig) != HAL_OK) {
    Error_Handler();
  }

}

static void MX_USART1_UART_Init(void) {

  huart1.Instance = USART1;
  huart1.Init.BaudRate = 115200;
  huart1.Init.WordLength = UART_WORDLENGTH_8B;
  huart1.Init.StopBits = UART_STOPBITS_1;
  huart1.Init.Parity = UART_PARITY_NONE;
  huart1.Init.Mode = UART_MODE_TX_RX;
  huart1.Init.HwFlowCtl = UART_HWCONTROL_NONE;
  huart1.Init.OverSampling = UART_OVERSAMPLING_16;
  if (HAL_UART_Init(&huart1) != HAL_OK) {
    Error_Handler();
  }

}

static void MX_DMA_Init(void) {

  /* DMA controller clock enable */
  __HAL_RCC_DMA1_CLK_ENABLE();

  /* DMA interrupt init */
  /* DMA1_Channel4_IRQn interrupt configuration */
  HAL_NVIC_SetPriority(DMA1_Channel4_IRQn, 5, 0);
  HAL_NVIC_EnableIRQ(DMA1_Channel4_IRQn);
  /* DMA1_Channel5_IRQn interrupt configuration */
  HAL_NVIC_SetPriority(DMA1_Channel5_IRQn, 5, 0);
  HAL_NVIC_EnableIRQ(DMA1_Channel5_IRQn);

}

static void MX_GPIO_Init(void) {
  GPIO_InitTypeDef GPIO_InitStruct = {0};

  /* GPIO Ports Clock Enable */
  __HAL_RCC_GPIOD_CLK_ENABLE();
  __HAL_RCC_GPIOA_CLK_ENABLE();
  __HAL_RCC_GPIOB_CLK_ENABLE();

  /*Configure GPIO pin Output Level */
  HAL_GPIO_WritePin(GPIOB, GPIO_PIN_10|GPIO_PIN_6|GPIO_PIN_9, GPIO_PIN_RESET);

  /* PB5 drives an active-low buzzer. Keep it silent during startup. */
  HAL_GPIO_WritePin(GPIOB, GPIO_PIN_5, GPIO_PIN_SET);

  /*Configure GPIO pin Output Level */
  HAL_GPIO_WritePin(GPIOB, GPIO_PIN_12|GPIO_PIN_13|GPIO_PIN_14|GPIO_PIN_15, GPIO_PIN_SET);

  /*Configure GPIO pins : PA1 PA2 PA3 */
  GPIO_InitStruct.Pin = GPIO_PIN_1|GPIO_PIN_2|GPIO_PIN_3;
  GPIO_InitStruct.Mode = GPIO_MODE_INPUT;
  GPIO_InitStruct.Pull = GPIO_PULLUP;
  HAL_GPIO_Init(GPIOA, &GPIO_InitStruct);

  /*Configure GPIO pins : PB10 PB12 PB13 PB14
                           PB15 PB5 PB6 PB9 */
  GPIO_InitStruct.Pin = GPIO_PIN_10|GPIO_PIN_12|GPIO_PIN_13|GPIO_PIN_14
                          |GPIO_PIN_15|GPIO_PIN_5|GPIO_PIN_6|GPIO_PIN_9;
  GPIO_InitStruct.Mode = GPIO_MODE_OUTPUT_PP;
  GPIO_InitStruct.Pull = GPIO_NOPULL;
  GPIO_InitStruct.Speed = GPIO_SPEED_FREQ_LOW;
  HAL_GPIO_Init(GPIOB, &GPIO_InitStruct);

  /* USER CODE BEGIN MX_GPIO_Init_2 */
  set_buzzer(false);
  /* USER CODE END MX_GPIO_Init_2 */
}

/* USER CODE BEGIN 4 */
static void app_controller_run(void) {
  AppState state;
  AppEvent event;

  app_initialize(&state);
  for (;;) {
    if (osMessageQueueGet(RxEventHandle, &event, NULL,
                          ms_to_ticks(CONTROLLER_POLL_MS)) == osOK) {
      app_handle_event(&state, &event);
    }
    app_process_deadlines(&state);
  }
}

void fn_uart_tx(void *argument) {
  uint8_t pending_frames[COMM_PENDING_FRAME_COUNT][PROTOCOL_FRAME_SIZE];
  uint8_t pending_head = 0U;
  uint8_t pending_tail = 0U;
  uint8_t pending_count = 0U;
  bool tx_busy = false;
  bool rx_needs_start = true;
  CommEvent event;
  (void)argument;

  for (;;) {
    if (rx_needs_start && (HAL_UART_Receive_DMA(&huart1, BufIN,
                                                PROTOCOL_FRAME_SIZE) == HAL_OK)) {
      rx_needs_start = false;
    }

    if (osMessageQueueGet(DMAHandle, &event, NULL,
                          ms_to_ticks(CONTROLLER_POLL_MS)) == osOK) {
      switch (event.type) {
        case COMM_EVENT_SEND:
          if (pending_count < COMM_PENDING_FRAME_COUNT) {
            if (protocol_encode(&event.data.message,
                                pending_frames[pending_tail])) {
              pending_tail = (uint8_t)((pending_tail + 1U)
                                       % COMM_PENDING_FRAME_COUNT);
              ++pending_count;
            }
          }
          break;
        case COMM_EVENT_RX_FRAME:
        {
          ProtocolMessage decoded;
          if (protocol_decode(event.data.frame, &decoded)) {
            const AppEvent app_event = {
              .type = APP_EVENT_PROTOCOL,
              .data.protocol = decoded
            };
            (void)post_app_event(&app_event);
          }
          break;
        }
        case COMM_EVENT_TX_COMPLETE:
          tx_busy = false;
          break;
        case COMM_EVENT_UART_ERROR:
          (void)HAL_UART_AbortReceive(&huart1);
          (void)HAL_UART_AbortTransmit(&huart1);
          tx_busy = false;
          rx_needs_start = true;
          break;
        default:
          break;
      }
    }

    if (!tx_busy && (pending_count > 0U)) {
      memcpy(BufOUT, pending_frames[pending_head], PROTOCOL_FRAME_SIZE);
      if (HAL_UART_Transmit_DMA(&huart1, BufOUT, PROTOCOL_FRAME_SIZE) == HAL_OK) {
        pending_head = (uint8_t)((pending_head + 1U)
                                 % COMM_PENDING_FRAME_COUNT);
        --pending_count;
        tx_busy = true;
      }
    }
  }
}

void fn_display(void *argument) {
  DisplayRuntime runtime = {
    .command = {
      .digits = {8, 8, 8, 8},
      .decimal_mask = 0x0FU,
      .blinking_led = DISPLAY_LED_NONE
    },
    .animation_phase = STARTUP_ANIMATION_ROUTE,
    .led_on = true
  };
  DisplayCommand incoming;
  uint32_t now = osKernelGetTickCount();
  uint32_t next_scan = now + ms_to_ticks(DISPLAY_SCAN_PERIOD_MS);
  (void)argument;

  reset_pinos_emula_SPI();
  set_blinking_led(DISPLAY_LED_NONE, false);
  set_buzzer(false);
  runtime.next_led_toggle = now + ms_to_ticks(OUTPUT_BLINK_PERIOD_MS);
  display_animation_reset(&runtime, now);

  for (;;) {
    while (osMessageQueueGet(displayCommandsHandle, &incoming, NULL, 0U) == osOK) {
      display_accept_command(&runtime, &incoming, osKernelGetTickCount());
    }

    now = osKernelGetTickCount();
    display_update_runtime(&runtime, now);
    display_render(&runtime);

    if (time_reached(now, next_scan)) {
      next_scan = now + ms_to_ticks(DISPLAY_SCAN_PERIOD_MS);
    }
    (void)osDelayUntil(next_scan);
    next_scan += ms_to_ticks(DISPLAY_SCAN_PERIOD_MS);
  }
}

void fn_keyboard(void *argument) {
  ButtonInput buttons[BUTTON_COUNT] = {
    {.id = BUTTON_A1, .pin = BUTTON_A1_PIN},
    {.id = BUTTON_A2, .pin = BUTTON_A2_PIN},
    {.id = BUTTON_A3, .pin = BUTTON_A3_PIN}
  };
  uint32_t now;
  uint32_t next_poll;
  uint32_t next_chrono;
  uint32_t next_adc;
  (void)argument;

  (void)HAL_ADCEx_Calibration_Start(&hadc1);
  now = osKernelGetTickCount();
  for (uint32_t index = 0U; index < BUTTON_COUNT; ++index) {
    const GPIO_PinState initial_state =
        HAL_GPIO_ReadPin(GPIOA, buttons[index].pin);
    buttons[index].stable_state = initial_state;
    buttons[index].candidate_state = initial_state;
    buttons[index].candidate_since_ms = HAL_GetTick();
  }
  next_poll = now + ms_to_ticks(IO_POLL_MS);
  next_chrono = now + ms_to_ticks(CHRONO_PERIOD_MS);
  next_adc = now + ms_to_ticks(ADC_PERIOD_MS);

  for (;;) {
    now = osKernelGetTickCount();
    const uint32_t now_ms = HAL_GetTick();

    /* Keep the professor's keyboard-task model: all three keys follow the
       same polling and debounce path, so no key depends on an EXTI setup. */
    for (uint32_t index = 0U; index < BUTTON_COUNT; ++index) {
      ButtonInput *button = &buttons[index];
      const GPIO_PinState sampled_state =
          HAL_GPIO_ReadPin(GPIOA, button->pin);

      if (sampled_state != button->candidate_state) {
        button->candidate_state = sampled_state;
        button->candidate_since_ms = now_ms;
      }
      else if ((sampled_state != button->stable_state)
               && ((uint32_t)(now_ms - button->candidate_since_ms)
                   >= BUTTON_DEBOUNCE_MS)) {
        button->stable_state = sampled_state;
        if (sampled_state == GPIO_PIN_RESET) {
          const AppEvent button_event = {
            .type = APP_EVENT_BUTTON_EDGE,
            .data.button = button->id
          };
          (void)post_app_event(&button_event);
        }
      }
    }

    if (time_reached(now, next_chrono)) {
      const AppEvent event = {
        .type = APP_EVENT_CHRONO_TICK
      };
      (void)post_app_event(&event);
      next_chrono += ms_to_ticks(CHRONO_PERIOD_MS);
      if (time_reached(now, next_chrono)) {
        next_chrono = now + ms_to_ticks(CHRONO_PERIOD_MS);
      }
    }

    if (time_reached(now, next_adc)) {
      (void)HAL_ADC_Start_IT(&hadc1);
      next_adc = now + ms_to_ticks(ADC_PERIOD_MS);
    }

    if (time_reached(now, next_poll)) {
      next_poll = now + ms_to_ticks(IO_POLL_MS);
    }
    (void)osDelayUntil(next_poll);
    next_poll += ms_to_ticks(IO_POLL_MS);
  }
}

void HAL_ADC_ConvCpltCallback(ADC_HandleTypeDef *hadc) {
  if (hadc->Instance == ADC1) {
    const AppEvent event = {
      .type = APP_EVENT_ADC_READY,
      .data.value = (uint16_t)HAL_ADC_GetValue(hadc)
    };
    (void)post_app_event(&event);
  }
}

void HAL_UART_RxCpltCallback(UART_HandleTypeDef *huart) {
  if (huart->Instance == USART1) {
    CommEvent event = {
      .type = COMM_EVENT_RX_FRAME
    };
    memcpy(event.data.frame, BufIN, PROTOCOL_FRAME_SIZE);
    (void)post_comm_event(&event);

    if (HAL_UART_Receive_DMA(&huart1, BufIN, PROTOCOL_FRAME_SIZE) != HAL_OK) {
      const CommEvent error_event = {
        .type = COMM_EVENT_UART_ERROR
      };
      (void)post_comm_event(&error_event);
    }
  }
}

void HAL_UART_TxCpltCallback(UART_HandleTypeDef *huart) {
  if (huart->Instance == USART1) {
    const CommEvent event = {
      .type = COMM_EVENT_TX_COMPLETE
    };
    (void)post_comm_event(&event);
  }
}

void HAL_UART_ErrorCallback(UART_HandleTypeDef *huart) {
  if (huart->Instance == USART1) {
    const CommEvent event = {
      .type = COMM_EVENT_UART_ERROR
    };
    (void)post_comm_event(&event);
  }
}
/* USER CODE END 4 */

void StartDefaultTask(void *argument) {
  /* USER CODE BEGIN 5 */
  (void)argument;
  app_controller_run();
  /* USER CODE END 5 */
}

void HAL_TIM_PeriodElapsedCallback(TIM_HandleTypeDef *htim) {
  if (htim->Instance == TIM4) {
    HAL_IncTick();
  }
}

void Error_Handler(void) {
  __disable_irq();
  while (1) {
  }
}

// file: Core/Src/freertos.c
/* USER CODE BEGIN Header */
/**
  ******************************************************************************
  * File Name          : freertos.c
  * Description        : Code for freertos applications
  ******************************************************************************
  * @attention
  *
  * Copyright (c) 2026 STMicroelectronics.
  * All rights reserved.
  *
  * This software is licensed under terms that can be found in the LICENSE file
  * in the root directory of this software component.
  * If no LICENSE file comes with this software, it is provided AS-IS.
  *
  ******************************************************************************
  */
/* USER CODE END Header */

#include "FreeRTOS.h"
#include "task.h"
#include "main.h"

/* Hook prototypes */
void vApplicationTickHook(void);

/* USER CODE BEGIN 3 */
void vApplicationTickHook( void )
{
   /* This function will be called by each tick interrupt if
   configUSE_TICK_HOOK is set to 1 in FreeRTOSConfig.h. User code can be
   added here, but the tick hook is called from an interrupt context, so
   code must not attempt to block, and only the interrupt safe FreeRTOS API
   functions can be used (those that end in FromISR()). */
}
/* USER CODE END 3 */
